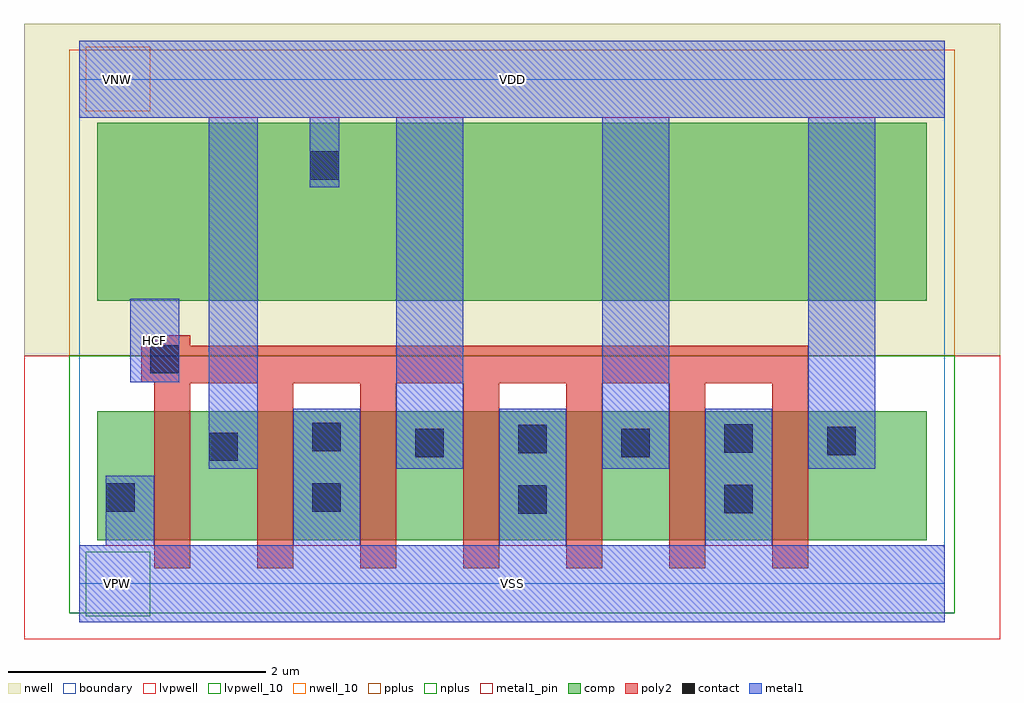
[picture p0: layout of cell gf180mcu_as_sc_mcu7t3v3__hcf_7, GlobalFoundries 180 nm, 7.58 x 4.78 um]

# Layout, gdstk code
import gdstk
lib = gdstk.Library(unit=1e-6, precision=1e-09)
def R(c, l, rs):  # rectangles x0, y0, x1, y1
    for r in rs: c.add(gdstk.rectangle(r[:2], r[2:], *l))
def A(c, l, x, y, w, h, nx, ny, dx, dy):  # array of equal rectangles
    R(c, l, [(x+i*dx, y+j*dy, x+i*dx+w, y+j*dy+h) for i in range(nx) for j in range(ny)])
boundary = (0, 0)
nwell = (21, 0)
nwell_10 = (21, 10)
comp = (22, 0)
poly2 = (30, 0)
pplus = (31, 0)
nplus = (32, 0)
contact = (33, 0)
metal1 = (34, 0)
metal1_pin = (34, 10)
lvpwell = (204, 0)
lvpwell_10 = (204, 10)

gf180mcu_as_sc_mcu7t3v3_ = lib.new_cell('gf180mcu_as_sc_mcu7t3v3__hcf_7')
R(gf180mcu_as_sc_mcu7t3v3_, boundary, [(0,0,6.72,3.92)])
R(gf180mcu_as_sc_mcu7t3v3_, nwell, [(-0.43,1.77,7.15,4.35)])
R(gf180mcu_as_sc_mcu7t3v3_, nwell_10, [(0.05,3.67,0.55,4.17)])
R(gf180mcu_as_sc_mcu7t3v3_, comp, [(0.14,0.34,6.58,1.34), (0.14,2.2,6.58,3.58)])
A(gf180mcu_as_sc_mcu7t3v3_, poly2, 0.58, 0.12, 0.28, 1.44, 7, 1, 0.8, 0)
R(gf180mcu_as_sc_mcu7t3v3_, poly2, [(0.58,1.56,5.66,1.565), (0.48,1.565,5.66,1.85), (0.48,1.85,0.86,1.93)])
R(gf180mcu_as_sc_mcu7t3v3_, pplus, [(-0.08,1.77,6.8,4.15)])
R(gf180mcu_as_sc_mcu7t3v3_, nplus, [(-0.08,-0.23,6.8,1.77)])
R(gf180mcu_as_sc_mcu7t3v3_, contact, [(3.41,0.545,3.63,0.765), (5.01,0.55,5.23,0.77), (0.21,0.56,0.43,0.78), (1.81,0.56,2.03,0.78), (1.01,0.955,1.23,1.175), (2.61,0.985,2.83,1.205), (4.21,0.985,4.43,1.205), (5.81,1,6.03,1.22), (3.41,1.015,3.63,1.235), (5.01,1.02,5.23,1.24), (1.81,1.03,2.03,1.25), (0.55,1.635,0.77,1.855), (1.795,3.14,2.015,3.36)])
A(gf180mcu_as_sc_mcu7t3v3_, metal1, 1.66, 0.3, 0.52, 1.06, 3, 1, 1.6, 0)
A(gf180mcu_as_sc_mcu7t3v3_, metal1, 2.46, 0.895, 0.52, 2.725, 3, 1, 1.6, 0)
R(gf180mcu_as_sc_mcu7t3v3_, metal1, [(0,-0.3,6.72,0.3), (0.205,0.3,0.58,0.84), (1.005,0.895,1.385,3.62), (0.395,1.565,0.775,2.215), (1.79,3.08,2.02,3.62), (0,3.62,6.72,4.22)])
R(gf180mcu_as_sc_mcu7t3v3_, metal1_pin, [(0,-0.3,6.72,0.3), (0.395,1.565,0.775,2.215), (0,3.62,6.72,4.22)])
R(gf180mcu_as_sc_mcu7t3v3_, lvpwell, [(-0.43,-0.43,7.15,1.77)])
R(gf180mcu_as_sc_mcu7t3v3_, lvpwell_10, [(0.05,-0.25,0.55,0.25)])
gf180mcu_as_sc_mcu7t3v3_.add(gdstk.Label('VDD', (3.36,3.92), layer=34, texttype=10))
gf180mcu_as_sc_mcu7t3v3_.add(gdstk.Label('VNW', (0.3,3.92), layer=21, texttype=10))
gf180mcu_as_sc_mcu7t3v3_.add(gdstk.Label('VPW', (0.3,0), layer=204, texttype=10))
gf180mcu_as_sc_mcu7t3v3_.add(gdstk.Label('VSS', (3.36,0), layer=34, texttype=10))
gf180mcu_as_sc_mcu7t3v3_.add(gdstk.Label('HCF', (0.585,1.89), layer=34, texttype=10))

lib.write_gds('gf180mcu_as_sc_mcu7t3v3__hcf_7.gds')
